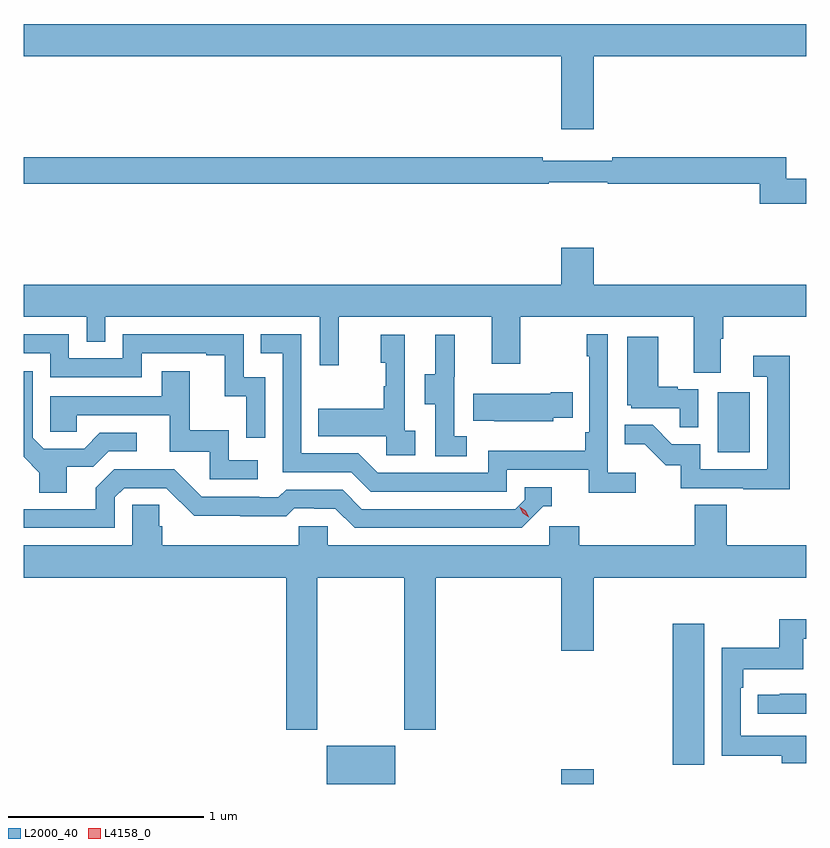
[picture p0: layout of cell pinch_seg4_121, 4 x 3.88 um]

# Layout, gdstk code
import gdstk
lib = gdstk.Library(unit=1e-6, precision=1e-09)
def R(c, l, rs):  # rectangles x0, y0, x1, y1
    for r in rs: c.add(gdstk.rectangle(r[:2], r[2:], *l))
def P(c, l, *ps):  # polygons
    for p in ps: c.add(gdstk.Polygon(p, *l))
L2000_40 = (2000, 40)
L4158_0 = (4158, 0)

pinch_seg4_121 = lib.new_cell('pinch_seg4_121')
R(pinch_seg4_121, L2000_40, [(1038.932,793.101,1039.282,793.297), (1040.132,793.101,1040.296,793.177), (1040.702,793.2,1040.863,793.921), (1040.93,794.796,1041.094,795.103)])
P(pinch_seg4_121, L2000_40, [(1040.296,796.82),(1041.384,796.82),(1041.384,796.984),(1037.384,796.984),(1037.384,796.82),(1040.132,796.82),(1040.132,796.446),(1040.296,796.446)],
  [(1041.384,796.193),(1041.281,796.193),(1041.281,796.304),(1040.392,796.304),(1040.392,796.285),(1040.036,796.285),(1040.036,796.304),(1037.384,796.304),(1037.384,796.168),(1040.068,796.168),(1040.068,796.176),(1040.368,796.176),(1040.368,796.168),(1041.145,796.168),(1041.145,796.065),(1041.384,796.065)],
  [(1040.947,795.376),(1040.96,795.376),(1040.96,795.488),(1041.384,795.488),(1041.384,795.652),(1040.296,795.652),(1040.296,795.841),(1040.132,795.841),(1040.132,795.652),(1037.384,795.652),(1037.384,795.488),(1037.706,795.488),(1037.706,795.361),(1037.802,795.361),(1037.802,795.488),(1038.897,795.488),(1038.897,795.24),(1038.995,795.24),(1038.995,795.488),(1039.775,795.488),(1039.775,795.249),(1039.923,795.249),(1039.923,795.488),(1040.807,795.488),(1040.807,795.202),(1040.947,795.202)],
  [(1040.512,794.692),(1040.37,794.692),(1040.37,795.4),(1040.262,795.4),(1040.262,795.287),(1040.274,795.287),(1040.274,794.899),(1040.254,794.899),(1040.254,794.803),(1039.758,794.803),(1039.758,794.691),(1039.194,794.691),(1039.095,794.79),(1038.804,794.79),(1038.804,795.399),(1038.595,795.399),(1038.595,795.303),(1038.708,795.303),(1038.708,794.694),(1039.058,794.694),(1039.157,794.595),(1039.854,794.595),(1039.854,794.706),(1040.273,794.706),(1040.273,794.59),(1040.512,794.59)],
  [(1038.618,795.18),(1038.51,795.18),(1038.51,795.399),(1037.892,795.399),(1037.892,795.276),(1037.616,795.276),(1037.616,795.399),(1037.384,795.399),(1037.384,795.303),(1037.52,795.303),(1037.52,795.18),(1037.988,795.18),(1037.988,795.303),(1038.317,795.303),(1038.317,795.291),(1038.413,795.291),(1038.413,795.083),(1038.522,795.083),(1038.522,794.871),(1038.618,794.871)],
  [(1039.384,794.906),(1039.332,794.906),(1039.332,795.397),(1039.208,795.397),(1039.208,795.252),(1039.234,795.252),(1039.234,795.134),(1039.224,795.134),(1039.224,795.019),(1038.889,795.019),(1038.889,794.879),(1039.236,794.879),(1039.236,794.781),(1039.384,794.781)],
  [(1039.648,794.879),(1039.584,794.879),(1039.584,795.183),(1039.586,795.183),(1039.586,795.397),(1039.487,795.397),(1039.487,795.195),(1039.433,795.195),(1039.433,795.04),(1039.488,795.04),(1039.488,794.776),(1039.648,794.776)],
  [(1040.832,795.117),(1040.726,795.117),(1040.726,795.13),(1040.626,795.13),(1040.626,795.385),(1040.468,795.385),(1040.468,795.036),(1040.49,795.036),(1040.49,795.021),(1040.737,795.021),(1040.737,794.923),(1040.832,794.923)],
  [(1041.299,795.289),(1041.111,795.289),(1041.111,795.183),(1041.183,795.183),(1041.183,794.709),(1040.841,794.709),(1040.841,794.838),(1040.697,794.838),(1040.599,794.936),(1040.455,794.936),(1040.455,794.837),(1040.559,794.837),(1040.666,794.73),(1040.743,794.73),(1040.743,794.613),(1041.061,794.613),(1041.061,794.608),(1041.299,794.608)],
  [(1038.58,794.754),(1038.432,794.754),(1038.432,794.908),(1038.233,794.908),(1038.233,795.211),(1038.089,795.211),(1038.089,795.081),(1037.52,795.081),(1037.52,794.901),(1037.657,794.901),(1037.657,794.985),(1038.131,794.985),(1038.131,794.799),(1038.336,794.799),(1038.336,794.658),(1038.58,794.658)],
  [(1037.605,794.722),(1037.74,794.722),(1037.82,794.802),(1037.962,794.802),(1037.962,794.895),(1037.774,794.895),(1037.693,794.814),(1037.487,794.814),(1037.43,794.871),(1037.43,795.211),(1037.384,795.211),(1037.384,794.773),(1037.465,794.692),(1037.465,794.59),(1037.605,794.59)],
  [(1040.091,794.972),(1040.189,794.972),(1040.189,795.102),(1040.078,795.102),(1040.078,795.094),(1039.681,795.094),(1039.681,794.957),(1039.789,794.957),(1039.789,794.954),(1040.091,794.954)],
  [(1037.85,794.565),(1037.898,794.613),(1038.114,794.613),(1038.256,794.471),(1038.492,794.471),(1038.492,794.469),(1038.725,794.469),(1038.767,794.511),(1038.87,794.511),(1038.87,794.508),(1038.977,794.508),(1039.076,794.409),(1039.929,794.409),(1040.04,794.52),(1040.083,794.52),(1040.083,794.616),(1039.944,794.616),(1039.944,794.553),(1039.896,794.505),(1039.113,794.505),(1039.014,794.604),(1038.725,794.604),(1038.686,794.565),(1038.587,794.565),(1038.587,794.568),(1038.294,794.568),(1038.153,794.709),(1037.847,794.709),(1037.753,794.615),(1037.753,794.505),(1037.384,794.505),(1037.384,794.409),(1037.85,794.409)],
  [(1038.885,794.156),(1039.33,794.156),(1039.33,793.377),(1039.49,793.377),(1039.49,794.156),(1040.132,794.156),(1040.132,793.782),(1040.296,793.782),(1040.296,794.156),(1041.384,794.156),(1041.384,794.32),(1040.978,794.32),(1040.978,794.528),(1040.813,794.528),(1040.813,794.32),(1040.222,794.32),(1040.222,794.418),(1040.07,794.418),(1040.07,794.32),(1038.939,794.32),(1038.939,794.418),(1038.789,794.418),(1038.789,794.32),(1038.092,794.32),(1038.092,794.418),(1038.077,794.418),(1038.077,794.528),(1037.94,794.528),(1037.94,794.32),(1037.384,794.32),(1037.384,794.156),(1038.725,794.156),(1038.725,793.377),(1038.885,793.377)],
  [(1041.384,793.348),(1041.361,793.348),(1041.361,793.347),(1041.048,793.347),(1041.048,793.592),(1041.062,793.592),(1041.062,793.688),(1041.367,793.688),(1041.367,793.843),(1041.384,793.843),(1041.384,793.944),(1041.246,793.944),(1041.246,793.798),(1040.952,793.798),(1040.952,793.246),(1041.257,793.246),(1041.257,793.208),(1041.384,793.208)],
  [(1041.384,793.562),(1041.247,793.562),(1041.247,793.557),(1041.135,793.557),(1041.135,793.461),(1041.384,793.461)])
P(pinch_seg4_121, L4158_0, [(1039.965,794.465),(1039.935,794.485),(1039.919,794.518),(1039.919,794.518),(1039.919,794.518),(1039.95,794.498),(1039.966,794.466),(1039.966,794.465)])

lib.write_gds('pinch_seg4_121.gds')
